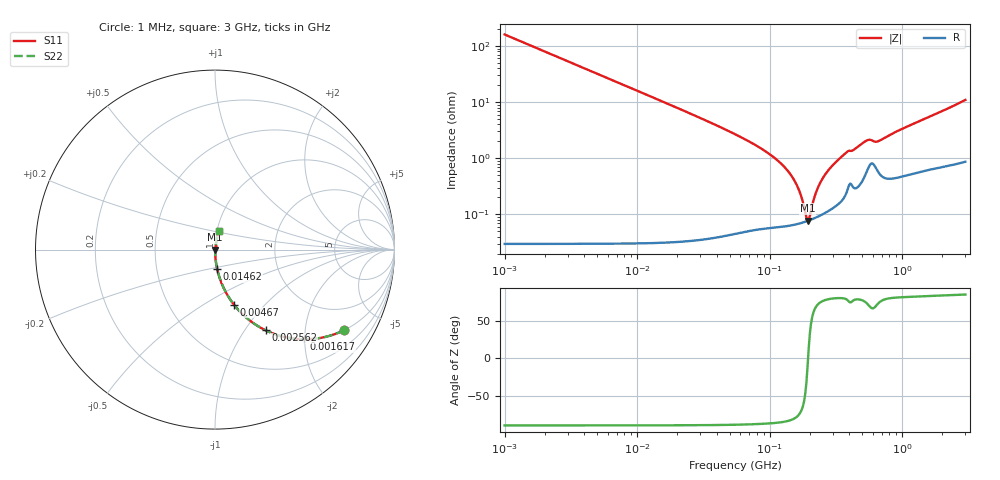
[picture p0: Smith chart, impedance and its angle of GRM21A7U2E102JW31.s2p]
!Murata Part Number: GRM21A7U2E102JW31
!These Parameters are Measured in Series Mode Connection
!Data Generated on Mar 30, 2021
!  o--ll--o
!Port1  Port2
!  o------o
!Operation Temp=25[degC], DC Bias Voltage=0[V]
!Freq. Start=1000[kHz] Stop=3[GHz] 401[Steps]
# Hz S RI R 50
!Freq.(Hz) S11(Real) S11(Imag) S21(Real) S21(Imag) S12(Real) S12(Imag) S22(Real) S22(Imag)
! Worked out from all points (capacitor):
!   401 points, 1 MHz to 3 GHz, reference 50 ohm
!   read as one part in series: C = 993 pF near 1.041 MHz
!   lowest |Z| = 77.7 mohm at 193.3 MHz (marker M1)
!   series resonance near 195 MHz, so ESL is about 670 pH
!   S11 on the Smith chart (normalised r, x): 1 MHz: 1.00, -3.21; 1.617 MHz: 1.00, -1.98; 2.562 MHz: 1.00, -1.25; 4.67 MHz: 1.00, -0.69; 14.62 MHz: 1.00, -0.22; 3 GHz: 1.02, +0.22
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1000000  0.7199 -0.449  0.2801 0.449  0.2801 0.449  0.7199 -0.449
1616692  0.4958 -0.4998  0.5042 0.4998  0.5042 0.4998  0.4958 -0.4998
2561897  0.2814 -0.4495  0.7186 0.4495  0.7186 0.4495  0.2814 -0.4495
3823119  0.1496 -0.3564  0.8504 0.3564  0.8504 0.3564  0.1496 -0.3564
4670311  0.1055 -0.3068  0.8945 0.3068  0.8945 0.3068  0.1055 -0.3068
1.461624e7  0.012 -0.1077  0.988 0.1077  0.988 0.1077  0.012 -0.1077
5.477226e7  0.00117 -0.0268  0.9988 0.0268  0.9988 0.0268  0.00117 -0.0268
9.402997e7  0.00073 -0.013  0.9993 0.013  0.9993 0.013  0.00073 -0.013
1.321429e8  0.000656 -0.00656  0.9993 0.00656  0.9993 0.00656  0.000656 -0.00656
1.614254e8  0.000681 -0.00313  0.9993 0.00313  0.9993 0.00313  0.000681 -0.00313
1.714156e8  0.000701 -0.00213  0.9993 0.00213  0.9993 0.00213  0.000701 -0.00213
1.894586e8  0.000751 -0.000473  0.9992 0.000473  0.9992 0.000473  0.000751 -0.000473
1.93289e8  0.000763 -0.000142  0.9992 0.000142  0.9992 0.000142  0.000763 -0.000142
2.011837e8  0.000791 0.00052  0.9992 -0.00052  0.9992 -0.00052  0.000791 0.00052
2.094008e8  0.000822 0.00118  0.9992 -0.00118  0.9992 -0.00118  0.000822 0.00118
2.268557e8  0.000898 0.00252  0.9991 -0.00252  0.9991 -0.00252  0.000898 0.00252
2.507343e8  0.00102 0.00422  0.999 -0.00422  0.999 -0.00422  0.00102 0.00422
3.385367e8  0.0017 0.00982  0.9983 -0.00982  0.9983 -0.00982  0.0017 0.00982
5.364635e8  0.0059 0.0195  0.9941 -0.0195  0.9941 -0.0195  0.0059 0.0195
6.553423e8  0.00615 0.0189  0.9939 -0.0189  0.9939 -0.0189  0.00615 0.0189
8.005644e8  0.00492 0.0252  0.9951 -0.0252  0.9951 -0.0252  0.00492 0.0252
3e9  0.0201 0.106  0.9799 -0.106  0.9799 -0.106  0.0201 0.106
